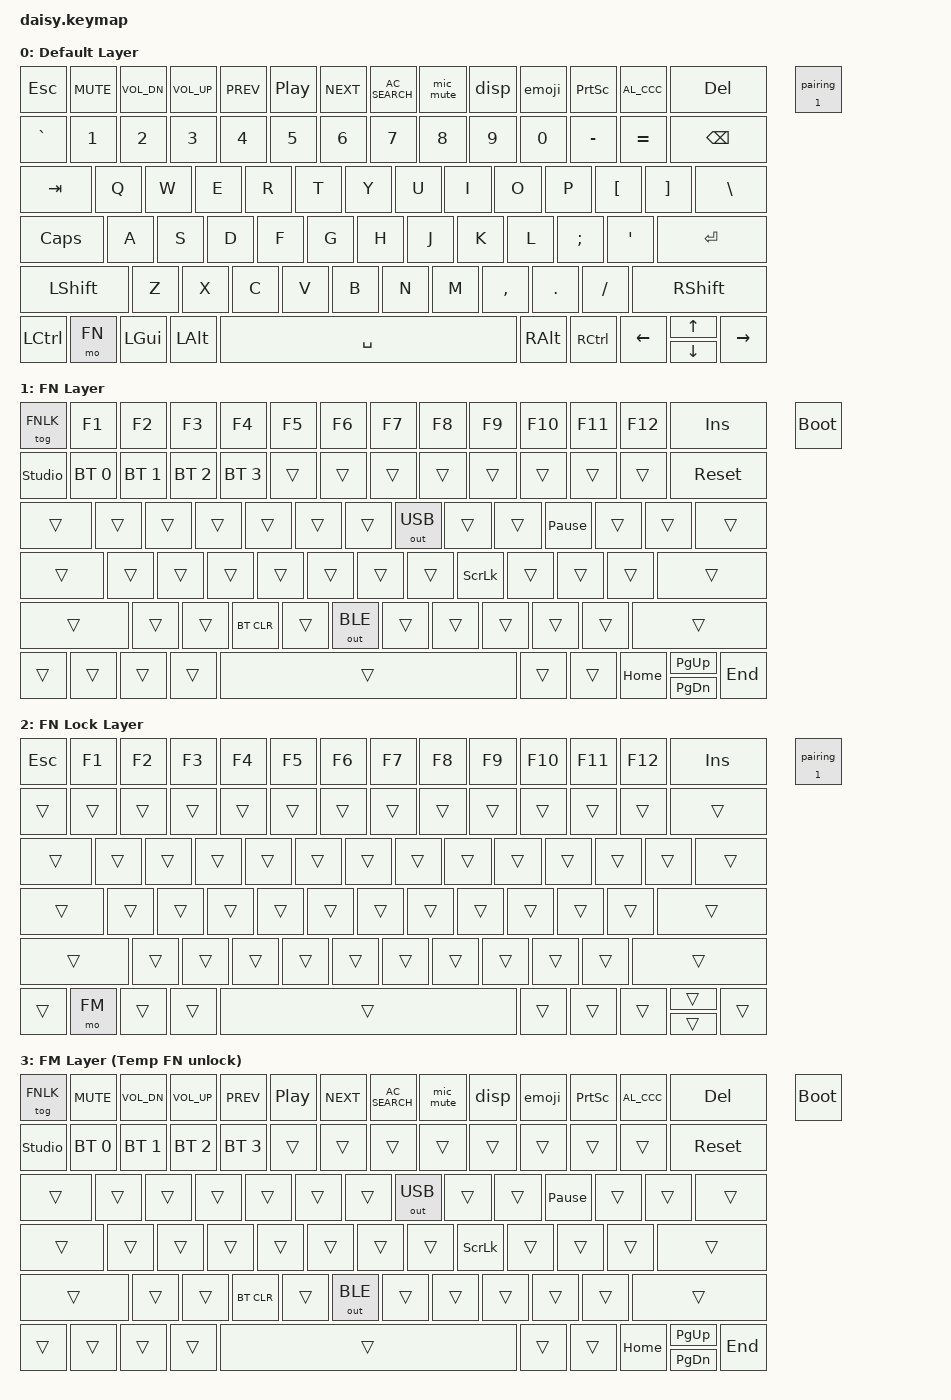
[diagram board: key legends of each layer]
/*
 * Copyright (c) 2022 The ZMK Contributors
 *
 * SPDX-License-Identifier: MIT
 */

#include <behaviors.dtsi>
#include <dt-bindings/zmk/keys.h>
#include <dt-bindings/zmk/backlight.h>
#include <dt-bindings/zmk/bt.h>
#include <dt-bindings/zmk/ext_power.h>
#include <dt-bindings/zmk/outputs.h>

#define BASE  0
#define FN    1
#define FNLK  2
#define FM    3

#define ______ &trans
#define TODO   &none
#define PAUSE PAUSE_BREAK

// Special key codes
// | Key Combo | Tap         |
// | FN + 1    | BT Device 1 |
// | FN + 2    | BT Device 2 |
// | FN + 3    | BT Device 3 |
// | FN + U    | USB Output  |
// | FN + B    | BLE Output  |
// | FN + C    | Clear BT    |
// | FN + `    | Unlock ZMK Studio |
// | Win held + E+T chord | Enable Touchpad  |
// | Win held + D+T chord | Disable Touchpad |
/ {
    combos {
        compatible = "zmk,combos";
        // Hold Win, then tap E+T together to enable the touchpad, D+T to
        // disable it. Win itself can't be a combo member (a combo's window
        // starts at its first key, and Win is naturally held long before the
        // letters), so the chord is just the two letters and &tp_pwr checks
        // that a GUI modifier is held -- retyping the letters when it isn't.
        // Key positions: 32 = E, 34 = T, 46 = D.
        combo_tp_enable {
            timeout-ms = <75>;
            require-prior-idle-ms = <125>;
            key-positions = <32 34>;
            bindings = <&tp_pwr 1>;
        };
        combo_tp_disable {
            timeout-ms = <75>;
            require-prior-idle-ms = <125>;
            key-positions = <46 34>;
            bindings = <&tp_pwr 0>;
        };
    };
    macros {
	// usb_bt_sw: usb_bt_switch {
        //     compatible = "zmk,behavior-macro";
        //     #binding-cells = <0>;
        //     bindings
	// 	= <&led_trig 1>
        //         , <&macro_pause_for_release>
	// 	, <&led_trig 0>
	// 	;
        // };
	emoji: emoji {
            compatible = "zmk,behavior-macro";
            #binding-cells = <0>;
            // Simulate press WIN+.
            // Works (at least) on Windows
            bindings
                = <&macro_press &kp LGUI>
                , <&macro_tap &kp DOT>
                , <&macro_release &kp LGUI>
		;
	};
	disp: display_switch {
            compatible = "zmk,behavior-macro";
            #binding-cells = <0>;
            // Simulate press WIN+P
            // Works (at least) on Windows and GNOME
            bindings
                = <&macro_press &kp LGUI>
                , <&macro_tap &kp P>
                , <&macro_release &kp LGUI>
		;
	};
	mic_mute: mic_mute {
            compatible = "zmk,behavior-macro";
            #binding-cells = <0>;
            // Simulate press WIN+ALT+K, the Windows 11 global mic mute.
            // Preferred over the Telephony Phone Mute usage here because it
            // toggles the OS-level mute that Windows shows in its own UI.
            bindings
                = <&macro_press &kp LGUI &kp LALT>
                , <&macro_tap &kp K>
                , <&macro_release &kp LGUI &kp LALT>
		;
	};
    };
    behaviors {
    //     led_trig: led_trigger {
    //         compatible = "zmk,behavior-led-trigger";
    //         #binding-cells = <1>; /* Accepts 1 argument (0 or 1) */
    //     };
        tp_pwr: touchpad_power {
            compatible = "zmk,behavior-touchpad-power";
            #binding-cells = <1>; /* 1 = enable, 0 = disable */
        };
        // Physical pairing button: tap = next BLE profile, hold 1s = clear the
        // active profile's bond. Both go through &pairing (behavior_pairing.c)
        // instead of &bt BT_NXT / BT_CLR so the button is inert in wired mode
        // (protocol switch on USB -> BLE off): otherwise it would switch
        // profiles or wipe a bond on a keyboard that is deliberately cabled.
        pairing: pairing {
            compatible = "zmk,behavior-pairing";
            #binding-cells = <1>; /* 0 = next profile, 1 = clear bond */
        };
        pairing_ht: pairing_ht {
            compatible = "zmk,behavior-hold-tap";
            #binding-cells = <2>;
            flavor = "hold-preferred";
            tapping-term-ms = <2500>;
            bindings = <&pairing>, <&pairing>;
            display-name = "Mod-Tap";
        };
    };
    keymap {
        compatible = "zmk,keymap";

        default_layer {
            display-name = "Default Layer";
            bindings = <
                &pairing_ht 1 0
                //&pairing_ht 1 0 &usb_bt_sw
		// &none &none
                // ---------------------------------------------------------------------------------------------------------
                // | ESC  |Mute |Prev |Next  |Prev  |Play  | Next |Search |MicMute|Displ |Emoji  |Print  | Media |  DEL    |
                // |  ` |  1  |  2  |  3   |  4   |  5   |  6   |  7    |  8    |  9   |   0   |  -    |  =    | BACKSPC   |
                // | TAB |  Q  |  W  |  E   |  R   |  T   |  Y   |  U    |  I    |  O   |   P   |  [    |  ]    |  \       |
                // | CAPS |  A  |  S  |  D   |  F   |  G   |  H   |  J    |  K    |  L   |   ;   |   '   |    Enter        |
                // | SHIFT       |  Z  |  X   |  C   |  V   |  B   |  N   |  M    |  ,    |  .   |   /    | SHIFT          |
                // | CTRL  | FN  | GUI | ALT  | CTRL |        SPACE                | ALT  | CTRL | LEFT   | UP     | RIGHT |
                // |                                                                                      | DOWN   |
                &kp ESC   &kp C_MUTE &kp C_VOL_DN &kp C_VOL_UP &kp C_PREV &kp C_PP &kp C_NEXT &kp C_AC_SEARCH &mic_mute &disp &emoji &kp PSCRN &kp C_AL_CCC &kp DEL
                &kp GRAVE &kp N1 &kp N2   &kp N3   &kp N4   &kp N5   &kp N6   &kp N7   &kp N8   &kp N9    &kp N0    &kp MINUS &kp EQUAL &kp BSPC
                &kp TAB   &kp Q  &kp W    &kp E    &kp R    &kp T    &kp Y    &kp U    &kp I    &kp O     &kp P     &kp LBKT  &kp RBKT  &kp BSLH
                &kp CAPS  &kp A  &kp S    &kp D    &kp F    &kp G    &kp H    &kp J    &kp K    &kp L     &kp SEMI  &kp SQT   &kp RET
                &kp LSHFT        &kp Z    &kp X    &kp C    &kp V    &kp B    &kp N    &kp M    &kp COMMA &kp DOT   &kp FSLH  &kp RSHFT
                &kp LCTRL &mo FN &kp LGUI &kp LALT                   &kp SPACE                  &kp RALT  &kp RCTRL &kp LEFT  &kp UP    &kp RIGHT
                                                                                                                              &kp DOWN
           >;
        };

        fn_layer {
            display-name = "FN Layer";
            bindings = <
                // Fn + pairing button: reboot into the MCUboot recovery bootloader.
                &bootloader
                // &trans &trans
                // ---------------------------------------------------------------------------------------------------------
                // | FNLK |  F1 |  F2 |  F3  |  F4  |  F5  |  F6  |  F7   |  F8   |  F9  |  F10  |  F11  |  F12  |  INS    |
                // |    |     |     |      |      |      |      |       |       |      |       |       |       |           |
                // |     |     |     |      |      |      |      |       |       |      | PAUSE |       |       |          |
                // |      |     |     |      |      |      |      |       | SLCK  |      |       |       |                 |
                // |             |     |      |      |      |      |      |       |       |      |        |                |
                // |       |     |     |      |      |                             |      |      | HOME   | PG UP  | END   |
                // |                                                                                      | PG DN  |
                &tog FNLK &kp F1 &kp F2   &kp F3   &kp F4   &kp F5   &kp F6   &kp F7   &kp F8   &kp F9    &kp F10   &kp F11   &kp F12   &kp INS
                &studio_unlock &bt BT_SEL 0 &bt BT_SEL 1 &bt BT_SEL 2  &bt BT_SEL 3 ______   ______   ______   ______   ______    ______    ______    ______ &sys_reset
                ______    ______ ______   ______   ______   ______   ______   &out OUT_USB ______   ______   &kp PAUSE ______   ______   ______
                ______    ______ ______   ______   ______   ______   ______   ______   &kp SLCK ______    ______    ______    ______
                ______           ______   ______   &bt BT_CLR ______ &out OUT_BLE ______   ______   ______    ______    ______    ______
                ______    ______ ______   ______                     ______                     ______    ______    &kp HOME  &kp PG_UP &kp END
                                                                                                                              &kp PG_DN
           >;
        };

        fnlock_layer {
            display-name = "FN Lock Layer";
            bindings = <
                &pairing_ht 1 0
                // &pairing_ht 1 0 &usb_bt_sw
		// &none &none
                // ---------------------------------------------------------------------------------------------------------
                // | FNLK |  F1 |  F2 |  F3  |  F4  |  F5  |  F6  |  F7   |  F8   |  F9  |  F10  |  F11  |  F12  |  DEL    |
                // |    |     |     |      |      |      |      |       |       |      |       |       |       |           |
                // |     |     |     |      |      |      |      |       |       |      |       |       |       |  \       |
                // |      |     |     |      |      |      |      |       |       |      |       |       |                 |
                // |             |     |      |      |      |      |      |       |       |      |        |                |
                // |       | FN  |     |      |      |                             |      |      |        |        |       |
                // |                                                                                      |        |
                &kp ESC   &kp F1 &kp F2   &kp F3   &kp F4   &kp F5   &kp F6   &kp F7   &kp F8   &kp F9    &kp F10   &kp F11   &kp F12   &kp INS
                ______    ______ ______   ______   ______   ______   ______   ______   ______   ______    ______    ______    ______    ______
                ______    ______ ______   ______   ______   ______   ______   ______   ______   ______    ______    ______    ______    ______
                ______    ______ ______   ______   ______   ______   ______   ______   ______   ______    ______    ______    ______
                ______           ______   ______   ______   ______   ______    ______  ______   ______    ______    ______    ______
                ______    &mo FM ______   ______                     ______                     ______    ______    ______    ______    ______
                                                                                                                              ______
           >;
        };

        fm_layer {
            display-name = "FM Layer (Temp FN unlock)";
            bindings = <
                // Fn + pairing button: reboot into the MCUboot recovery bootloader.
                &bootloader
                // &trans &trans
                // ---------------------------------------------------------------------------------------------------------
                // | FNLK |Mute |Prev |Next  |Prev  |Play  | Next |Search |MicMute|Displ |Airplne|Print  | Media |  DEL    |
                // |    |     |     |      |      |      |      |       |       |      |       |       |       |           |
                // |     |     |     |      |      |      |      |       |       |      | PAUSE |       |       |  \       |
                // |      |     |     |      |      |      |      |       |       |      |       |       |                 |
                // |             |     |      |      |      |      |      |       |       |      |        |                |
                // |       |     |     |      |      |                             |      |      | HOME   | PG UP  | END   |
                // |                                                                                      | PG DN  |
                &tog FNLK &kp C_MUTE &kp C_VOL_DN &kp C_VOL_UP &kp C_PREV &kp C_PP &kp C_NEXT &kp C_AC_SEARCH &mic_mute &disp &emoji &kp PSCRN &kp C_AL_CCC &kp DEL
                &studio_unlock &bt BT_SEL 0 &bt BT_SEL 1 &bt BT_SEL 2  &bt BT_SEL 3 ______   ______   ______   ______   ______    ______    ______    ______ &sys_reset
                ______    ______ ______   ______   ______   ______   ______   &out OUT_USB ______   ______   &kp PAUSE ______   ______   ______
                ______    ______ ______   ______   ______   ______   ______   ______   &kp SLCK ______    ______    ______    ______
                ______           ______   ______   &bt BT_CLR ______ &out OUT_BLE ______   ______   ______    ______    ______    ______
                ______    ______ ______   ______                     ______                     ______    ______    &kp HOME  &kp PG_UP &kp END
                                                                                                                              &kp PG_DN
           >;
        };
    };
};
